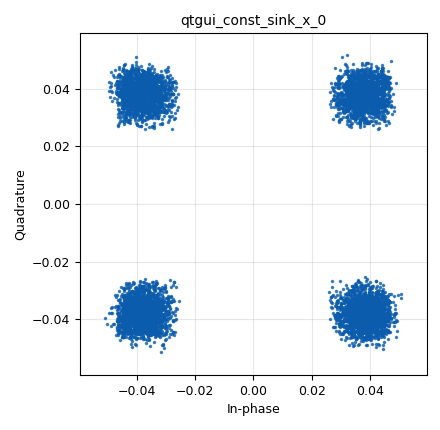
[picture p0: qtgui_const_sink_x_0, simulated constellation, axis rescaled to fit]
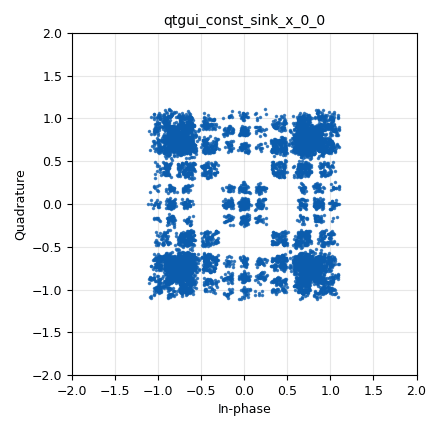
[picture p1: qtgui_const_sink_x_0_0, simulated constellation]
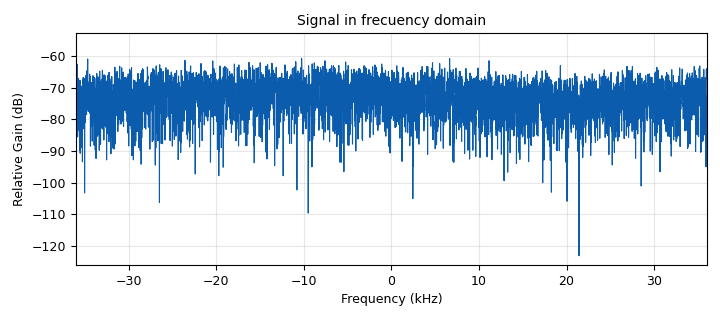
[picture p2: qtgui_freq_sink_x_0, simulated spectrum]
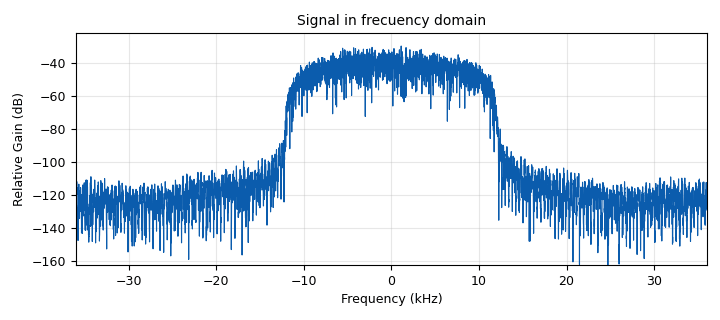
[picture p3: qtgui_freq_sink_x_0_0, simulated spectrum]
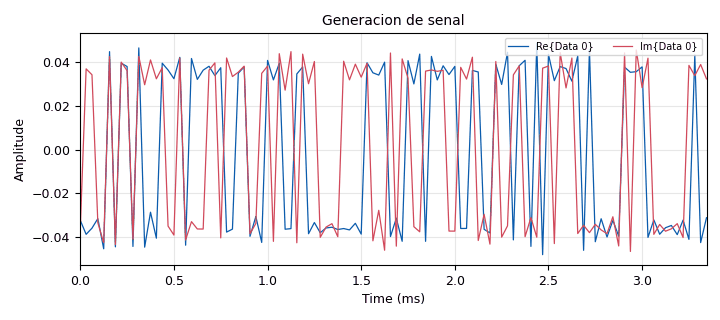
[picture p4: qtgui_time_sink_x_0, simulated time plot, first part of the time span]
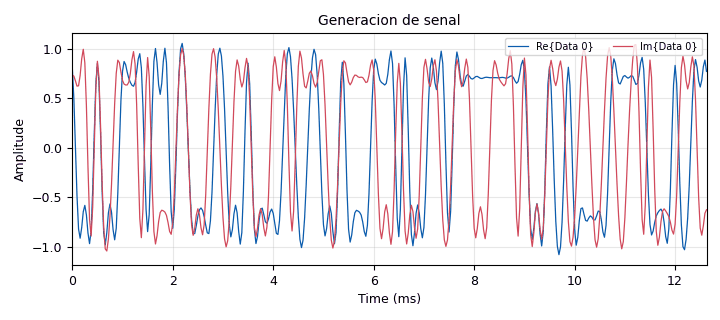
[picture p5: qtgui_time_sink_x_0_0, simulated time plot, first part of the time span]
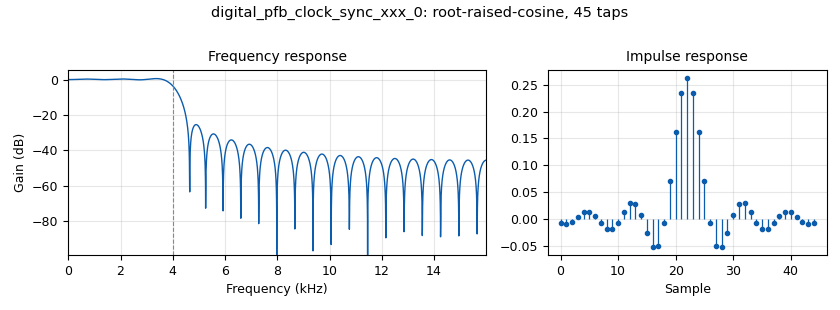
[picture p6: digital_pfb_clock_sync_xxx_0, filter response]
options:
  parameters:
    generate_options: qt_gui
    id: QPSK
    output_language: python
    title: QPSK
  states: {}

blocks:
- name: NoiseSource
  id: variable_qtgui_range
  parameters:
    start: '0'
    step: '.01'
    stop: '1'
    value: '0'
  states: {}
- name: rrc_taps
  id: variable
  parameters:
    value: firdes.root_raised_cosine(1,samp_rate,samp_rate/sps,.11,11*sps)
  states: {}
- name: samp_rate
  id: variable
  parameters:
    value: 32e3
  states: {}
- name: sps
  id: variable
  parameters:
    value: '4'
  states: {}
- name: variable_constellation_rect_0
  id: variable_constellation_rect
  parameters:
    const_points: '[-1-1j, -1+1j, 1+1j, 1-1j]'
    imag_sect: '1'
    real_sect: '1'
    rot_sym: '8'
    sym_map: '[0, 1, 2, 3]'
    w_imag_sect: '1'
    w_real_sect: '1'
  states: {}
- name: analog_noise_source_x_0
  id: analog_noise_source_x
  parameters:
    amp: NoiseSource
    noise_type: analog.GR_GAUSSIAN
    seed: '0'
    type: complex
  states: {}
- name: analog_random_source_x_0
  id: analog_random_source_x
  parameters:
    max: '100'
    min: '0'
    num_samps: '100000'
    repeat: 'True'
    type: byte
  states: {}
- name: blocks_add_xx_0
  id: blocks_add_xx
  parameters:
    type: complex
  states: {}
- name: blocks_add_xx_0_0
  id: blocks_add_xx
  parameters:
    type: complex
  states: {}
- name: blocks_throttle2_0
  id: blocks_throttle2
  parameters:
    samples_per_second: samp_rate
    type: complex
  states: {}
- name: digital_constellation_modulator_0
  id: digital_constellation_modulator
  parameters:
    constellation: variable_constellation_rect_0
    differential: 'True'
    excess_bw: '0.35'
    samples_per_symbol: sps
  states: {}
- name: digital_pfb_clock_sync_xxx_0
  id: digital_pfb_clock_sync_xxx
  parameters:
    filter_size: '100'
    init_phase: '16'
    loop_bw: '0.0628'
    max_dev: '1.5'
    osps: '1'
    sps: sps
    taps: rrc_taps
    type: ccf
  states: {}
- name: qtgui_const_sink_x_0
  id: qtgui_const_sink_x
  parameters:
    size: '8192'
    type: complex
  states: {}
- name: qtgui_const_sink_x_0_0
  id: qtgui_const_sink_x
  parameters:
    grid: 'True'
    size: '8192'
    type: complex
  states: {}
- name: qtgui_freq_sink_x_0
  id: qtgui_freq_sink_x
  parameters:
    autoscale: 'True'
    bw: '72000'
    fc: '0'
    fftsize: '8192'
    grid: 'True'
    name: '"Signal in frecuency domain"'
    type: complex
  states: {}
- name: qtgui_freq_sink_x_0_0
  id: qtgui_freq_sink_x
  parameters:
    autoscale: 'True'
    bw: '72000'
    fc: '0'
    fftsize: '8192'
    grid: 'True'
    name: '"Signal in frecuency domain"'
    type: complex
  states: {}
- name: qtgui_time_sink_x_0
  id: qtgui_time_sink_x
  parameters:
    autoscale: 'True'
    color1: green
    grid: 'True'
    name: '"Generacion de senal"'
    size: '2048'
    srate: samp_rate
    type: complex
    yunit: '"V"'
  states: {}
- name: qtgui_time_sink_x_0_0
  id: qtgui_time_sink_x
  parameters:
    autoscale: 'True'
    color1: green
    grid: 'True'
    name: '"Generacion de senal"'
    size: '2048'
    srate: samp_rate
    type: complex
    yunit: '"V"'
  states: {}

connections:
- [analog_noise_source_x_0, '0', blocks_add_xx_0, '1']
- [analog_noise_source_x_0, '0', blocks_add_xx_0_0, '1']
- [analog_random_source_x_0, '0', digital_constellation_modulator_0, '0']
- [blocks_add_xx_0, '0', qtgui_const_sink_x_0_0, '0']
- [blocks_add_xx_0, '0', qtgui_freq_sink_x_0_0, '0']
- [blocks_add_xx_0, '0', qtgui_time_sink_x_0_0, '0']
- [blocks_add_xx_0_0, '0', digital_pfb_clock_sync_xxx_0, '0']
- [blocks_throttle2_0, '0', blocks_add_xx_0, '0']
- [blocks_throttle2_0, '0', blocks_add_xx_0_0, '0']
- [digital_constellation_modulator_0, '0', blocks_throttle2_0, '0']
- [digital_pfb_clock_sync_xxx_0, '0', qtgui_const_sink_x_0, '0']
- [digital_pfb_clock_sync_xxx_0, '0', qtgui_freq_sink_x_0, '0']
- [digital_pfb_clock_sync_xxx_0, '0', qtgui_time_sink_x_0, '0']

metadata:
  file_format: 1
  grc_version: 3.10.8.0
